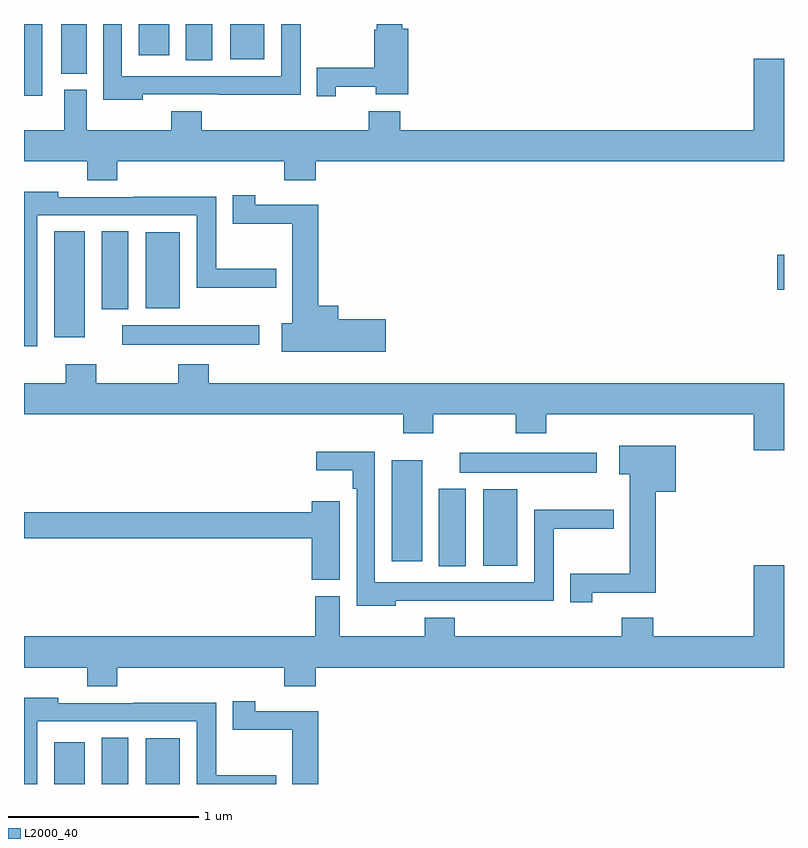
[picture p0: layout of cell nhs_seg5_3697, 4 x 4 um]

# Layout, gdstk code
import gdstk
lib = gdstk.Library(unit=1e-6, precision=1e-09)
def R(c, l, rs):  # rectangles x0, y0, x1, y1
    for r in rs: c.add(gdstk.rectangle(r[:2], r[2:], *l))
def P(c, l, *ps):  # polygons
    for p in ps: c.add(gdstk.Polygon(p, *l))
L2000_40 = (2000, 40)

nhs_seg5_3697 = lib.new_cell('nhs_seg5_3697')
R(nhs_seg5_3697, L2000_40, [(329.159,870.799,329.32,871.018), (329.408,870.799,329.548,871.043), (329.642,870.799,329.821,871.039), (331.184,871.945,331.324,872.353), (331.418,871.949,331.597,872.35), (330.935,871.971,331.096,872.503), (331.293,872.438,332.014,872.542), (329.517,873.11,330.238,873.214), (329.159,873.15,329.32,873.707), (329.408,873.299,329.548,873.707), (329.642,873.302,329.821,873.703), (332.964,873.401,333,873.584), (329.195,874.537,329.329,874.799), (329.852,874.609,329.992,874.799), (330.086,874.613,330.265,874.799), (329.603,874.635,329.764,874.799)])
P(nhs_seg5_3697, L2000_40, [(329.097,874.799),(329.001,874.799),(329.001,874.583),(329,874.583),(329,874.422),(329.097,874.422)],
  [(329.625,874.428),(330.019,874.428),(330.019,874.427),(330.457,874.427),(330.457,874.799),(330.353,874.799),(330.353,874.524),(329.514,874.524),(329.514,874.799),(329.418,874.799),(329.418,874.4),(329.625,874.4)],
  [(330.642,874.468),(330.851,874.468),(330.851,874.43),(331.022,874.43),(331.022,874.774),(330.992,874.774),(330.992,874.799),(330.857,874.799),(330.857,874.77),(330.844,874.77),(330.844,874.569),(330.542,874.569),(330.542,874.419),(330.642,874.419)],
  [(329.492,874.076),(330.371,874.076),(330.371,873.977),(330.536,873.977),(330.536,874.076),(333,874.076),(333,874.615),(332.84,874.615),(332.84,874.24),(330.98,874.24),(330.98,874.339),(330.815,874.339),(330.815,874.24),(329.936,874.24),(329.936,874.339),(329.776,874.339),(329.776,874.24),(329.329,874.24),(329.329,874.452),(329.213,874.452),(329.213,874.24),(329,874.24),(329,874.076),(329.332,874.076),(329.332,873.977),(329.492,873.977)],
  [(329.07,873.792),(329.909,873.792),(329.909,873.41),(330.328,873.41),(330.328,873.51),(330.013,873.51),(330.013,873.89),(329.575,873.89),(329.575,873.888),(329.181,873.888),(329.181,873.916),(329,873.916),(329,873.104),(329.07,873.104)],
  [(330.904,873.245),(330.655,873.245),(330.655,873.316),(330.548,873.316),(330.548,873.847),(330.216,873.847),(330.216,873.898),(330.098,873.898),(330.098,873.748),(330.413,873.748),(330.413,873.224),(330.357,873.224),(330.357,873.074),(330.904,873.074)],
  [(333,872.908),(329.972,872.908),(329.972,873.007),(329.812,873.007),(329.812,872.908),(329.379,872.908),(329.379,873.007),(329.219,873.007),(329.219,872.908),(329,872.908),(329,872.744),(330.995,872.744),(330.995,872.645),(331.155,872.645),(331.155,872.744),(331.588,872.744),(331.588,872.645),(331.748,872.645),(331.748,872.744),(332.84,872.744),(332.84,872.556),(333,872.556)],
  [(331.992,871.805),(332.324,871.805),(332.324,872.336),(332.431,872.336),(332.431,872.578),(332.133,872.578),(332.133,872.429),(332.189,872.429),(332.189,871.905),(331.874,871.905),(331.874,871.755),(331.992,871.755)],
  [(330.957,871.764),(331.351,871.764),(331.351,871.763),(331.789,871.763),(331.789,872.143),(332.104,872.143),(332.104,872.243),(331.685,872.243),(331.685,871.86),(330.846,871.86),(330.846,872.549),(330.537,872.549),(330.537,872.45),(330.73,872.45),(330.73,872.354),(330.75,872.354),(330.75,871.736),(330.957,871.736)],
  [(330.661,872.287),(330.515,872.287),(330.515,872.228),(329,872.228),(329,872.092),(330.515,872.092),(330.515,871.873),(330.661,871.873)],
  [(329.492,871.412),(330.371,871.412),(330.371,871.313),(330.536,871.313),(330.536,871.412),(333,871.412),(333,871.951),(332.84,871.951),(332.84,871.576),(332.312,871.576),(332.312,871.675),(332.147,871.675),(332.147,871.576),(331.268,871.576),(331.268,871.675),(331.108,871.675),(331.108,871.576),(330.661,871.576),(330.661,871.788),(330.533,871.788),(330.533,871.576),(329,871.576),(329,871.412),(329.332,871.412),(329.332,871.313),(329.492,871.313)],
  [(329.07,871.128),(329.909,871.128),(329.909,870.799),(330.328,870.799),(330.328,870.846),(330.013,870.846),(330.013,871.226),(329.575,871.226),(329.575,871.224),(329.181,871.224),(329.181,871.252),(329,871.252),(329,870.799),(329.07,870.799)],
  [(330.548,871.183),(330.216,871.183),(330.216,871.234),(330.098,871.234),(330.098,871.084),(330.413,871.084),(330.413,870.799),(330.548,870.799)])

lib.write_gds('nhs_seg5_3697.gds')
